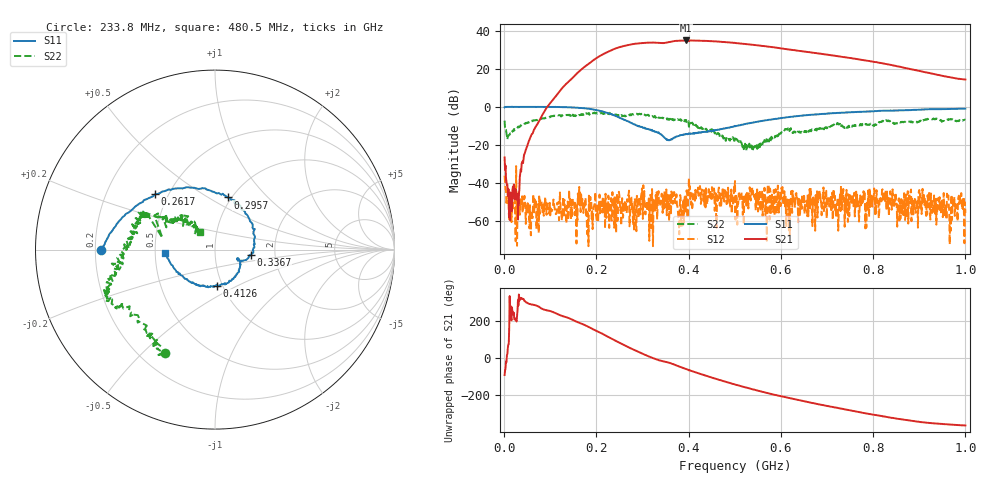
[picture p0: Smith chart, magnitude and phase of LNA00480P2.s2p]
! Created with skrf 1.9.0 (http://scikit-rf.org).
# Hz S RI R 50.0
!freq ReS11 ImS11 ReS21 ImS21 ReS12 ImS12 ReS22 ImS22
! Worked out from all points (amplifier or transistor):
!   1001 points, 1 MHz to 1 GHz, reference 50 ohm
!   highest |S21| = 34.9 dB at 394.6 MHz (marker M1)
!   |S21| within 3 dB of that: 257.9 MHz to 564.7 MHz (306.7 MHz wide, 74.6 % of centre)
!   unconditionally stable (mu >= 1): 206.8 MHz to 219.6 MHz; 220.1 MHz to 298.2 MHz; 302.1 MHz to end of sweep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
!   at 166.8 MHz: K = 0.18, MSG = 32.8 dB, |S12| = -46.1 dB
!   at 500.5 MHz: K = 1.04, MAG = 35.1 dB, |S12| = -39.0 dB
!   at 1 GHz: K = 8.48, MAG = 22.8 dB, |S12| = -55.7 dB
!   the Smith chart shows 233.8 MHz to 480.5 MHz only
!   S11 on the Smith chart (normalised r, x): 233.8 MHz: 0.22, +0.00; 261.7 MHz: 0.42, +0.33; 295.7 MHz: 0.96, +0.61; 336.7 MHz: 1.49, -0.10; 412.6 MHz: 0.94, -0.40; 480.5 MHz: 0.57, -0.03
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1000000  0.9777 0.00249  -0.0006 -0.0471  -0.00242 -0.0154  0.3304 0.2848
1.08892e8  0.5352 -0.8406  -0.8107 -1.507  -0.00225 -0.000361  0.4219 -0.3896
1.67833e8  -0.2101 -0.9102  -9.765 -0.5506  0.00253 0.000954  0.043 -0.6393
2.06794e8  -0.64 -0.4592  -15.75 14.77  -0.00195 -0.00456  -0.168 -0.6551
2.33767e8  -0.6342 0.000205  -6.31 30.82  -0.000988 0.000293  -0.2774 -0.5766
2.61739e8  -0.3325 0.309  15.92 36.99  -0.00225 0.00224  -0.421 -0.3848
2.95705e8  0.0697 0.2903  41.82 21.97  -0.00141 -0.000699  -0.5905 -0.2366
3.16684e8  0.2092 0.142  48.62 4.717  -0.00104 0.00478  -0.5588 -0.115
3.34666e8  0.2139 -0.0166  47.37 -9.255  -0.00259 0.00555  -0.5153 -0.0417
3.36664e8  0.198 -0.0307  46.98 -10.52  -0.000484 0.00274  -0.515 -0.0297
3.68632e8  0.1413 -0.0691  44.07 -30.54  -0.00212 0.00539  -0.4406 0.1387
3.94606e8  0.0952 -0.1687  28.77 -47.8  -0.00118 0.00413  -0.4122 0.1887
4.12588e8  0.00978 -0.2047  14.99 -53.38  0.000333 0.00442  -0.2814 0.1824
4.45555e8  -0.1554 -0.1647  -10.02 -52.64  0.00461 0.000604  -0.1842 0.1929
4.8052e8  -0.2763 -0.0217  -30.31 -40.5  0.00675 0.0003  -0.0836 0.0961
5.005e8  -0.305 0.0873  -37.73 -30.04  0.00323 0.0108  -0.0847 0.103
5.39461e8  -0.2448 0.2988  -41.8 -9.302  0.00443 -0.00432  -0.0777 -0.00784
5.85415e8  -0.0716 0.4757  -35.32 9.983  0.0049 -0.0034  -0.149 -0.0677
6.67333e8  0.3152 0.5357  -13.41 22.97  -0.0029 -0.00206  -0.2539 -0.0473
7.53247e8  0.6204 0.3779  3.629 18.63  -0.00067 -0.00365  -0.3134 0.0127
8.34166e8  0.7804 0.1555  9.397 8.983  -0.00134 4.92e-05  -0.4238 0.0499
1e9  0.8232 -0.368  5.239 0.0203  -0.00164 6.89e-05  -0.2709 0.3687
